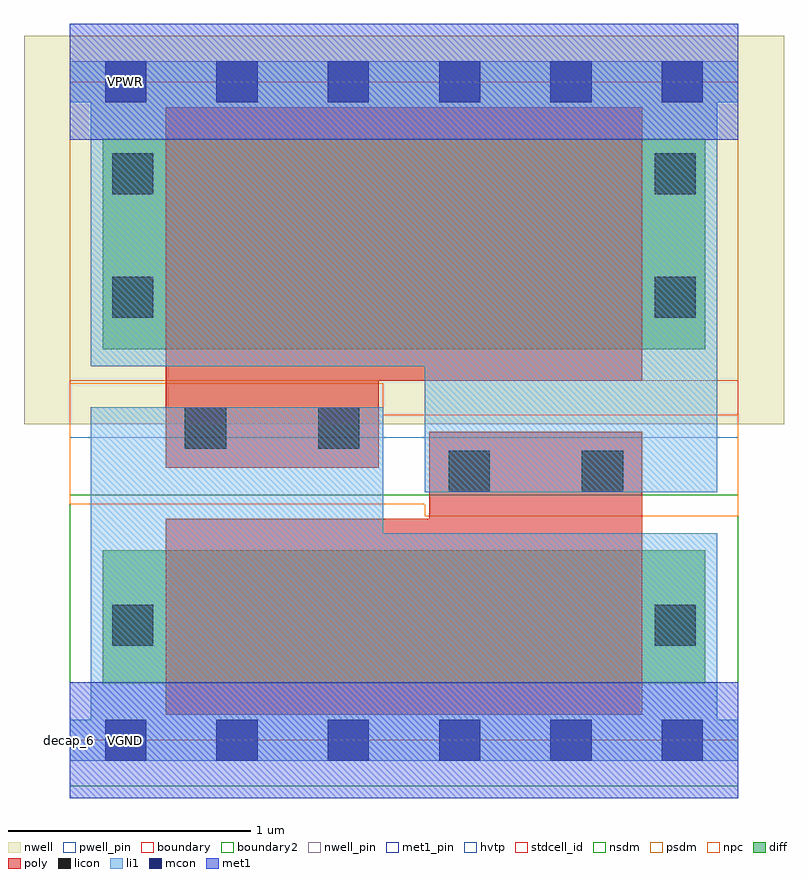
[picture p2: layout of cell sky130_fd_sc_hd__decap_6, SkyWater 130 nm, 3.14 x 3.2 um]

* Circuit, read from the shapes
.subckt sky130_fd_sc_hd__decap_6 VGND VNB VPB VPWR
XM1 VGND VPWR VGND VNB sky130_fd_pr__nfet_01v8 w=0.55 l=1.97
XM2 VPWR VGND VPWR VPB sky130_fd_pr__pfet_01v8_hvt w=0.87 l=1.97
.ends

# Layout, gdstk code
import gdstk
lib = gdstk.Library(unit=1e-6, precision=1e-09)
def R(c, l, rs):  # rectangles x0, y0, x1, y1
    for r in rs: c.add(gdstk.rectangle(r[:2], r[2:], *l))
def P(c, l, *ps):  # polygons
    for p in ps: c.add(gdstk.Polygon(p, *l))
nwell_pin = (64, 16)
nwell = (64, 20)
diff = (65, 20)
poly = (66, 20)
licon = (66, 44)
li1 = (67, 20)
mcon = (67, 44)
met1_pin = (68, 16)
met1 = (68, 20)
hvtp = (78, 44)
stdcell_id = (81, 4)
nsdm = (93, 44)
psdm = (94, 20)
npc = (95, 20)
pwell_pin = (122, 16)
boundary = (235, 4)
boundary2 = (236, 0)

sky130_fd_sc_hd__decap_6 = lib.new_cell('sky130_fd_sc_hd__decap_6')
R(sky130_fd_sc_hd__decap_6, nwell_pin, [(0.145,2.635,0.315,2.805), (0.145,2.635,0.315,2.805), (0.145,2.635,0.315,2.805), (0.145,2.635,0.315,2.805), (0.145,2.635,0.315,2.805)])
R(sky130_fd_sc_hd__decap_6, nwell, [(-0.19,1.305,2.95,2.91), (-0.19,1.305,2.95,2.91), (-0.19,1.305,2.95,2.91), (-0.19,1.305,2.95,2.91), (-0.19,1.305,2.95,2.91)])
R(sky130_fd_sc_hd__decap_6, diff, [(0.135,0.235,2.625,0.785), (0.135,0.235,2.625,0.785), (0.135,0.235,2.625,0.785), (0.135,0.235,2.625,0.785), (0.135,0.235,2.625,0.785), (0.135,1.615,2.625,2.485), (0.135,1.615,2.625,2.485), (0.135,1.615,2.625,2.485), (0.135,1.615,2.625,2.485), (0.135,1.615,2.625,2.485)])
R(sky130_fd_sc_hd__decap_6, poly, [(0.395,0.105,2.365,0.915), (0.395,0.105,2.365,0.915), (0.395,0.105,2.365,0.915), (0.395,0.105,2.365,0.915), (1.485,0.915,2.365,1.275), (1.485,0.915,2.365,1.275), (1.485,0.915,2.365,1.275), (1.485,0.915,2.365,1.275), (0.395,1.125,1.275,1.485), (0.395,1.125,1.275,1.485), (0.395,1.125,1.275,1.485), (0.395,1.125,1.275,1.485), (0.395,1.485,2.365,2.615), (0.395,1.485,2.365,2.615), (0.395,1.485,2.365,2.615), (0.395,1.485,2.365,2.615)])
P(sky130_fd_sc_hd__decap_6, poly, [(0.395,1.125),(0.395,2.615),(2.365,2.615),(2.365,1.485),(1.275,1.485),(1.275,1.125)],
  [(0.395,0.105),(0.395,0.915),(1.485,0.915),(1.485,1.275),(2.365,1.275),(2.365,0.105)])
R(sky130_fd_sc_hd__decap_6, licon, [(0.175,0.39,0.345,0.56), (0.175,0.39,0.345,0.56), (0.175,0.39,0.345,0.56), (0.175,0.39,0.345,0.56), (0.175,0.39,0.345,0.56), (2.415,0.39,2.585,0.56), (2.415,0.39,2.585,0.56), (2.415,0.39,2.585,0.56), (2.415,0.39,2.585,0.56), (2.415,0.39,2.585,0.56), (1.565,1.025,1.735,1.195), (1.565,1.025,1.735,1.195), (1.565,1.025,1.735,1.195), (1.565,1.025,1.735,1.195), (1.565,1.025,1.735,1.195), (2.115,1.025,2.285,1.195), (2.115,1.025,2.285,1.195), (2.115,1.025,2.285,1.195), (2.115,1.025,2.285,1.195), (2.115,1.025,2.285,1.195), (0.475,1.205,0.645,1.375), (0.475,1.205,0.645,1.375), (0.475,1.205,0.645,1.375), (0.475,1.205,0.645,1.375), (0.475,1.205,0.645,1.375), (1.025,1.205,1.195,1.375), (1.025,1.205,1.195,1.375), (1.025,1.205,1.195,1.375), (1.025,1.205,1.195,1.375), (1.025,1.205,1.195,1.375), (0.175,1.745,0.345,1.915), (0.175,1.745,0.345,1.915), (0.175,1.745,0.345,1.915), (0.175,1.745,0.345,1.915), (0.175,1.745,0.345,1.915), (2.415,1.745,2.585,1.915), (2.415,1.745,2.585,1.915), (2.415,1.745,2.585,1.915), (2.415,1.745,2.585,1.915), (2.415,1.745,2.585,1.915), (0.175,2.255,0.345,2.425), (0.175,2.255,0.345,2.425), (0.175,2.255,0.345,2.425), (0.175,2.255,0.345,2.425), (0.175,2.255,0.345,2.425), (2.415,2.255,2.585,2.425), (2.415,2.255,2.585,2.425), (2.415,2.255,2.585,2.425), (2.415,2.255,2.585,2.425), (2.415,2.255,2.585,2.425)])
R(sky130_fd_sc_hd__decap_6, li1, [(0,-0.085,2.76,0.085), (0,-0.085,2.76,0.085), (0,-0.085,2.76,0.085), (0,-0.085,2.76,0.085), (0.085,0.085,2.675,0.855), (0.085,0.085,2.675,0.855), (0.085,0.085,2.675,0.855), (0.085,0.085,2.675,0.855), (0.085,0.855,1.295,1.375), (0.085,0.855,1.295,1.375), (0.085,0.855,1.295,1.375), (0.085,0.855,1.295,1.375), (1.465,1.025,2.675,1.545), (1.465,1.025,2.675,1.545), (1.465,1.025,2.675,1.545), (1.465,1.025,2.675,1.545), (0.085,1.545,2.675,2.635), (0.085,1.545,2.675,2.635), (0.085,1.545,2.675,2.635), (0.085,1.545,2.675,2.635), (0,2.635,2.76,2.805), (0,2.635,2.76,2.805), (0,2.635,2.76,2.805), (0,2.635,2.76,2.805)])
P(sky130_fd_sc_hd__decap_6, li1, [(0,-0.085),(0,0.085),(0.085,0.085),(0.085,1.375),(1.295,1.375),(1.295,0.855),(2.675,0.855),(2.675,0.085),(2.76,0.085),(2.76,-0.085)],
  [(1.465,1.025),(1.465,1.545),(0.085,1.545),(0.085,2.635),(0,2.635),(0,2.805),(2.76,2.805),(2.76,2.635),(2.675,2.635),(2.675,1.025)])
R(sky130_fd_sc_hd__decap_6, mcon, [(0.145,-0.085,0.315,0.085), (0.145,-0.085,0.315,0.085), (0.145,-0.085,0.315,0.085), (0.145,-0.085,0.315,0.085), (0.145,-0.085,0.315,0.085), (0.605,-0.085,0.775,0.085), (0.605,-0.085,0.775,0.085), (0.605,-0.085,0.775,0.085), (0.605,-0.085,0.775,0.085), (0.605,-0.085,0.775,0.085), (1.065,-0.085,1.235,0.085), (1.065,-0.085,1.235,0.085), (1.065,-0.085,1.235,0.085), (1.065,-0.085,1.235,0.085), (1.065,-0.085,1.235,0.085), (1.525,-0.085,1.695,0.085), (1.525,-0.085,1.695,0.085), (1.525,-0.085,1.695,0.085), (1.525,-0.085,1.695,0.085), (1.525,-0.085,1.695,0.085), (1.985,-0.085,2.155,0.085), (1.985,-0.085,2.155,0.085), (1.985,-0.085,2.155,0.085), (1.985,-0.085,2.155,0.085), (1.985,-0.085,2.155,0.085), (2.445,-0.085,2.615,0.085), (2.445,-0.085,2.615,0.085), (2.445,-0.085,2.615,0.085), (2.445,-0.085,2.615,0.085), (2.445,-0.085,2.615,0.085), (0.145,2.635,0.315,2.805), (0.145,2.635,0.315,2.805), (0.145,2.635,0.315,2.805), (0.145,2.635,0.315,2.805), (0.145,2.635,0.315,2.805), (0.605,2.635,0.775,2.805), (0.605,2.635,0.775,2.805), (0.605,2.635,0.775,2.805), (0.605,2.635,0.775,2.805), (0.605,2.635,0.775,2.805), (1.065,2.635,1.235,2.805), (1.065,2.635,1.235,2.805), (1.065,2.635,1.235,2.805), (1.065,2.635,1.235,2.805), (1.065,2.635,1.235,2.805), (1.525,2.635,1.695,2.805), (1.525,2.635,1.695,2.805), (1.525,2.635,1.695,2.805), (1.525,2.635,1.695,2.805), (1.525,2.635,1.695,2.805), (1.985,2.635,2.155,2.805), (1.985,2.635,2.155,2.805), (1.985,2.635,2.155,2.805), (1.985,2.635,2.155,2.805), (1.985,2.635,2.155,2.805), (2.445,2.635,2.615,2.805), (2.445,2.635,2.615,2.805), (2.445,2.635,2.615,2.805), (2.445,2.635,2.615,2.805), (2.445,2.635,2.615,2.805)])
R(sky130_fd_sc_hd__decap_6, met1_pin, [(0.145,-0.085,0.315,0.085), (0.145,-0.085,0.315,0.085), (0.145,-0.085,0.315,0.085), (0.145,-0.085,0.315,0.085), (0.145,-0.085,0.315,0.085), (0.145,2.635,0.315,2.805), (0.145,2.635,0.315,2.805), (0.145,2.635,0.315,2.805), (0.145,2.635,0.315,2.805), (0.145,2.635,0.315,2.805)])
R(sky130_fd_sc_hd__decap_6, met1, [(0,-0.24,2.76,0.24), (0,-0.24,2.76,0.24), (0,-0.24,2.76,0.24), (0,-0.24,2.76,0.24), (0,2.48,2.76,2.96), (0,2.48,2.76,2.96), (0,2.48,2.76,2.96), (0,2.48,2.76,2.96)])
R(sky130_fd_sc_hd__decap_6, hvtp, [(0,1.25,2.76,2.72), (0.215,1.435,2.545,2.665), (0.215,1.435,2.545,2.665), (0.215,1.435,2.545,2.665), (0.215,1.435,2.545,2.665)])
R(sky130_fd_sc_hd__decap_6, stdcell_id, [(0,0,2.76,2.72), (0,0,2.76,2.72), (0,0,2.76,2.72), (0,0,2.76,2.72), (0,0,2.76,2.72)])
R(sky130_fd_sc_hd__decap_6, nsdm, [(0,-0.19,2.76,1.015), (0.01,0.11,2.75,0.91), (0.01,0.11,2.75,0.91), (0.01,0.11,2.75,0.91), (0.01,0.11,2.75,0.91)])
R(sky130_fd_sc_hd__decap_6, psdm, [(0,1.485,2.76,2.91), (0.01,1.49,2.75,2.61), (0.01,1.49,2.75,2.61), (0.01,1.49,2.75,2.61), (0.01,1.49,2.75,2.61)])
R(sky130_fd_sc_hd__decap_6, npc, [(1.465,0.925,2.385,1.065), (1.465,0.925,2.385,1.065), (1.465,0.925,2.385,1.065), (1.465,0.925,2.385,1.065), (1.15,1.065,2.385,1.105), (1.15,1.065,2.385,1.105), (1.15,1.065,2.385,1.105), (1.15,1.065,2.385,1.105), (0.375,1.105,2.385,1.295), (0.375,1.105,2.385,1.295), (0.375,1.105,2.385,1.295), (0.375,1.105,2.385,1.295), (0.375,1.295,2.16,1.335), (0.375,1.295,2.16,1.335), (0.375,1.295,2.16,1.335), (0.375,1.295,2.16,1.335), (0.375,1.335,1.295,1.475), (0.375,1.335,1.295,1.475), (0.375,1.335,1.295,1.475), (0.375,1.335,1.295,1.475)])
P(sky130_fd_sc_hd__decap_6, npc, [(1.465,0.925),(1.465,0.975),(0,0.975),(0,1.475),(1.295,1.475),(1.295,1.345),(2.76,1.345),(2.76,0.925)])
R(sky130_fd_sc_hd__decap_6, pwell_pin, [(0.145,-0.085,0.315,0.085), (0.145,-0.085,0.315,0.085), (0.145,-0.085,0.315,0.085), (0.145,-0.085,0.315,0.085), (0.145,-0.085,0.315,0.085)])
R(sky130_fd_sc_hd__decap_6, boundary, [(0,0,2.76,2.72), (0,0,2.76,2.72), (0,0,2.76,2.72), (0,0,2.76,2.72)])
R(sky130_fd_sc_hd__decap_6, boundary2, [(0,0,2.76,2.72)])
sky130_fd_sc_hd__decap_6.add(gdstk.FlexPath([(0,2.72),(2.76,2.72)], 0.48, ends="flush", simple_path=True, layer=68, datatype=20))  # met1
sky130_fd_sc_hd__decap_6.add(gdstk.FlexPath([(0,0),(2.76,0)], 0.48, ends="flush", simple_path=True, layer=68, datatype=20))  # met1
sky130_fd_sc_hd__decap_6.add(gdstk.Label('VPWR', (0.23,2.72), layer=68, texttype=5))
sky130_fd_sc_hd__decap_6.add(gdstk.Label('VGND', (0.23,0), layer=68, texttype=5))
sky130_fd_sc_hd__decap_6.add(gdstk.Label('VPWR', (0.23,2.72), layer=68, texttype=5))
sky130_fd_sc_hd__decap_6.add(gdstk.Label('VGND', (0.23,0), layer=68, texttype=5))
sky130_fd_sc_hd__decap_6.add(gdstk.Label('VPWR', (0.23,2.72), layer=68, texttype=5))
sky130_fd_sc_hd__decap_6.add(gdstk.Label('VGND', (0.23,0), layer=68, texttype=5))
sky130_fd_sc_hd__decap_6.add(gdstk.Label('VPWR', (0.23,2.72), layer=68, texttype=5))
sky130_fd_sc_hd__decap_6.add(gdstk.Label('VGND', (0.23,0), layer=68, texttype=5))
sky130_fd_sc_hd__decap_6.add(gdstk.Label('VPWR', (0.23,2.72), layer=68, texttype=5))
sky130_fd_sc_hd__decap_6.add(gdstk.Label('VGND', (0.23,0), layer=68, texttype=5))
sky130_fd_sc_hd__decap_6.add(gdstk.Label('VPB', (0.23,2.72), layer=64, texttype=5))
sky130_fd_sc_hd__decap_6.add(gdstk.Label('VPB', (0.23,2.72), layer=64, texttype=5))
sky130_fd_sc_hd__decap_6.add(gdstk.Label('VPB', (0.23,2.72), layer=64, texttype=5))
sky130_fd_sc_hd__decap_6.add(gdstk.Label('VPB', (0.23,2.72), layer=64, texttype=5))
sky130_fd_sc_hd__decap_6.add(gdstk.Label('VPB', (0.23,2.72), layer=64, texttype=5))
sky130_fd_sc_hd__decap_6.add(gdstk.Label('VNB', (0.23,0), layer=64, texttype=59))
sky130_fd_sc_hd__decap_6.add(gdstk.Label('VNB', (0.23,0), layer=64, texttype=59))
sky130_fd_sc_hd__decap_6.add(gdstk.Label('VNB', (0.23,0), layer=64, texttype=59))
sky130_fd_sc_hd__decap_6.add(gdstk.Label('VNB', (0.23,0), layer=64, texttype=59))
sky130_fd_sc_hd__decap_6.add(gdstk.Label('VNB', (0.23,0), layer=64, texttype=59))
sky130_fd_sc_hd__decap_6.add(gdstk.Label('decap_6', (0,0), layer=83, texttype=44))

lib.write_gds('sky130_fd_sc_hd__decap_6.gds')
